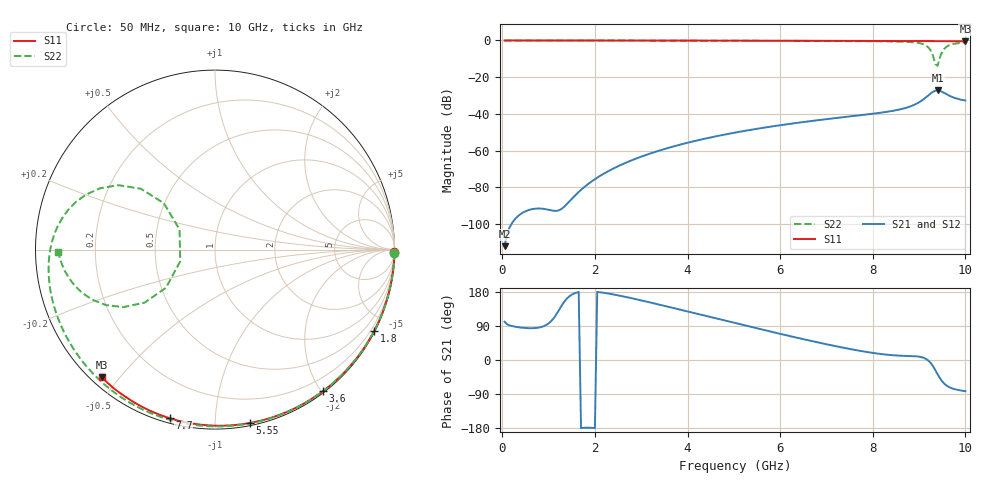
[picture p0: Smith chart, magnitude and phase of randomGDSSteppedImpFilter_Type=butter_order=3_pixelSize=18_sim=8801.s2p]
! freq	dB(S11)	phase(S11)	dB(S12)	phase(S12)
!  dB(S21)	phase(S21)	dB(S22)	phase(S22)
!S-par simulation data
#  GHz  S  DB  R 50
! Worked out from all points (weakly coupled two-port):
!   200 points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, 50 MHz to 10 GHz, reference 50 ohm
!   highest |S21| = -27.22 dB at 9.4 GHz (marker M1); lowest = -112.2 dB at 50 MHz (marker M2)
!   lowest |S11| = -0.4 dB at 10 GHz (marker M3), VSWR 39.56, Z = 1.52 - j22.5 ohm
!   |S11| at or under -10 dB: nowhere
!   |S22| runs from -13.8 to 0.0 dB; largest |S21 - S12| = 0
!   S11 on the Smith chart (normalised r, x): 50 MHz: open; 1.8 GHz: 0.04, -4.17; 3.6 GHz: 0.02, -2.02; 5.55 GHz: 0.02, -1.22; 7.7 GHz: 0.02, -0.77; 10 GHz: 0.03, -0.45
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0.05  -0.00 -0.8  -112.16 101.0  -112.16 101.0  -0.00 -1.1
0.85  -0.02 -12.8  -91.69 87.4  -91.69 87.4  -0.02 -18.1
1.75  -0.03 -26.2  -80.37 -178.9  -80.37 -178.9  -0.05 -36.9
1.8  -0.03 -26.9  -79.33 -178.6  -79.33 -178.6  -0.05 -37.9
2.45  -0.05 -36.4  -69.18 171.8  -69.18 171.8  -0.06 -51.2
3.4  -0.07 -49.9  -59.96 145.8  -59.96 145.8  -0.09 -70.0
3.6  -0.07 -52.7  -58.47 140.0  -58.47 140.0  -0.10 -73.9
5.05  -0.11 -72.2  -50.12 96.7  -50.12 96.7  -0.16 -101.5
5.55  -0.13 -78.7  -47.95 82.0  -47.95 82.0  -0.18 -110.8
6.7  -0.18 -93.1  -43.83 49.5  -43.83 49.5  -0.27 -132.5
7.7  -0.24 -105.1  -40.86 24.7  -40.86 24.7  -0.38 -152.8
8.35  -0.29 -112.7  -38.73 13.5  -38.73 13.5  -0.52 -168.5
8.9  -0.34 -119.0  -35.04 10.1  -35.04 10.1  -1.07 171.1
9.05  -0.35 -120.7  -32.91 7.7  -32.91 7.7  -1.72 161.2
9.2  -0.36 -122.4  -29.96 -1.6  -29.96 -1.6  -3.78 146.3
9.3  -0.37 -123.5  -27.99 -16.3  -27.99 -16.3  -8.28 137.8
9.35  -0.37 -124.0  -27.39 -26.6  -27.39 -26.6  -12.87 150.3
9.4  -0.37 -124.6  -27.22 -37.7  -27.22 -37.7  -13.79 -161.4
9.5  -0.38 -125.8  -28.03 -56.5  -28.03 -56.5  -6.17 -143.0
9.6  -0.39 -126.9  -29.42 -68.0  -29.42 -68.0  -3.31 -153.1
9.75  -0.41 -128.6  -31.16 -76.3  -31.16 -76.3  -1.85 -165.7
10  -0.44 -131.5  -32.76 -82.4  -32.76 -82.4  -1.17 -179.2
